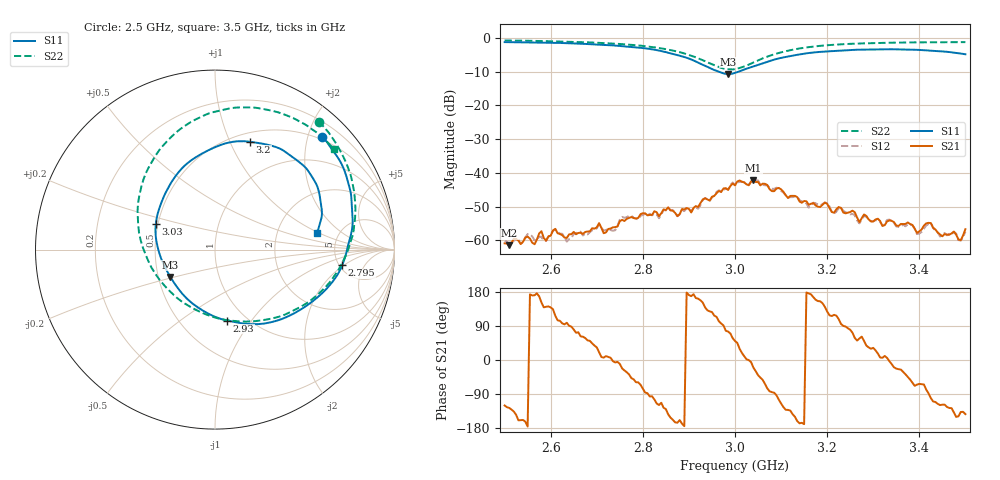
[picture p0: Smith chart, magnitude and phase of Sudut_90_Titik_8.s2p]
# Hz S RI R 50
! CMT, C1220, 16058040, 17.2.0/1
! Date: 15/08/2018 09:54:58
! Data: Format (Calibration Info)
! Freq  S11: Re/Im (F2)  S21: Re/Im (F2)  S12: Re/Im (F2)  S22: Re/Im (F2)
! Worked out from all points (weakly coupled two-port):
!   201 points, 2.5 GHz to 3.5 GHz, reference 50 ohm
!   highest |S21| = -42.08 dB at 3.04 GHz (marker M1); lowest = -61.5 dB at 2.51 GHz (marker M2)
!   lowest |S11| = -10.7 dB at 2.985 GHz (marker M3), VSWR 1.82, Z = 28.9 - j9.65 ohm
!   |S11| at or under -10 dB: 2.965 GHz to 3.008 GHz (43.12 MHz wide, 1.44 % of centre)
!   |S22| runs from -9.3 to -0.7 dB; largest |S21 - S12| = 0.0006
!   S11 on the Smith chart (normalised r, x): 2.5 GHz: 0.44, +2.25; 2.795 GHz: 5.32, -1.87; 2.93 GHz: 0.82, -0.77; 3.03 GHz: 0.49, +0.16; 3.2 GHz: 0.60, +1.19; 3.5 GHz: 3.41, +0.93
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2.5e9  0.5975 0.63  -0.000453 -0.000782  -0.000525 -0.000827  0.5781 0.7135
2.51e9  0.6101 0.6156  -0.000501 -0.000678  -0.000523 -0.000633  0.5894 0.7027
2.58e9  0.6866 0.5094  -0.0012 0.00065  -0.000938 0.000631  0.6654 0.606
2.59e9  0.6971 0.492  -0.000764 0.000631  -0.000837 0.000527  0.6748 0.591
2.61e9  0.7148 0.456  -0.000666 0.00133  -0.000637 0.00132  0.6941 0.5566
2.635e9  0.7351 0.3978  -0.000155 0.00108  -5.38e-05 0.000958  0.7175 0.5122
2.67e9  0.7566 0.3141  0.000596 0.0011  0.00065 0.000988  0.7479 0.439
2.795e9  0.709 -0.0862  0.00102 -0.00223  0.000841 -0.00216  0.7653 0.0737
2.835e9  0.608 -0.2321  -0.0011 -0.002  -0.00103 -0.00187  0.7052 -0.0811
2.93e9  0.0682 -0.3954  -0.00354 0.00192  -0.00356 0.00178  0.2503 -0.3953
2.985e9  -0.2484 -0.1527  0.00145 0.0054  0.00114 0.00558  -0.1788 -0.2942
3e9  -0.2994 -0.052  0.00419 0.00503  0.00447 0.00484  -0.2767 -0.206
3.03e9  -0.3295 0.1441  0.00656 -2.63e-05  0.00664 -2.98e-05  -0.4029 0.0141
3.04e9  -0.3179 0.2053  0.00738 -0.00272  0.00757 -0.00256  -0.4233 0.0958
3.17e9  0.1004 0.6006  -0.00347 0.000874  -0.00358 0.000558  -0.0729 0.7421
3.2e9  0.1951 0.6007  -0.00215 0.00276  -0.00209 0.00286  0.04 0.7777
3.27e9  0.3818 0.5515  0.00103 0.00157  0.000982 0.00149  0.2621 0.7847
3.335e9  0.5079 0.4531  0.00198 -0.000106  0.00202 -0.000256  0.4156 0.7413
3.395e9  0.5731 0.3418  0.000546 -0.00117  0.000427 -0.00117  0.5236 0.6827
3.425e9  0.5878 0.2707  -0.000329 -0.00178  -0.000321 -0.00178  0.5705 0.6488
3.49e9  0.5759 0.1155  -0.000737 -0.000684  -0.000823 -0.00056  0.6521 0.5711
3.5e9  0.5663 0.0917  -0.00117 -0.000887  -0.00113 -0.00074  0.663 0.5593
